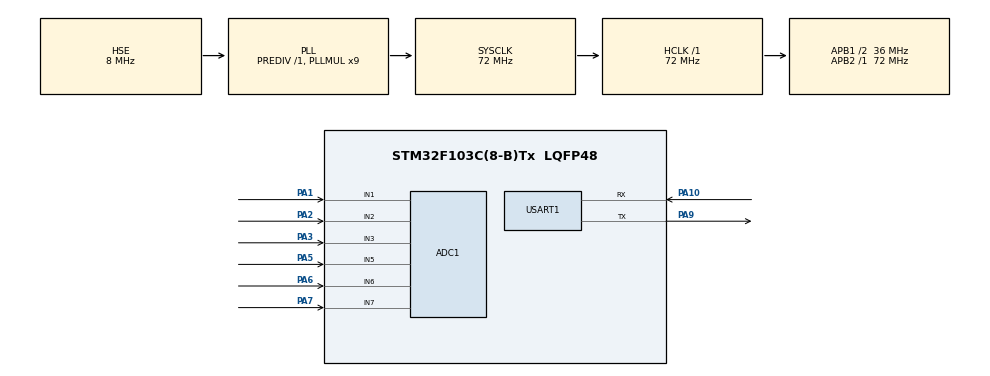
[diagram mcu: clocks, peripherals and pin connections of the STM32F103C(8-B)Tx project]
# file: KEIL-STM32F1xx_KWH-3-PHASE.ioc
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ADC1.AutoInjectedConv=DISABLE
ADC1.Channel-0\#ChannelRegularConversion=ADC_CHANNEL_1
ADC1.Channel-1\#ChannelRegularConversion=ADC_CHANNEL_2
ADC1.Channel-2\#ChannelRegularConversion=ADC_CHANNEL_3
ADC1.Channel-3\#ChannelRegularConversion=ADC_CHANNEL_5
ADC1.Channel-4\#ChannelRegularConversion=ADC_CHANNEL_6
ADC1.Channel-5\#ChannelRegularConversion=ADC_CHANNEL_7
ADC1.ContinuousConvMode=ENABLE
ADC1.InjectedDiscontinuousConvMode=DISABLE
ADC1.NbrOfConversion=6
ADC1.NbrOfConversionFlag=1
ADC1.Rank-0\#ChannelRegularConversion=1
ADC1.Rank-1\#ChannelRegularConversion=2
ADC1.Rank-2\#ChannelRegularConversion=3
ADC1.Rank-3\#ChannelRegularConversion=4
ADC1.Rank-4\#ChannelRegularConversion=5
ADC1.Rank-5\#ChannelRegularConversion=6
ADC1.SamplingTime-0\#ChannelRegularConversion=ADC_SAMPLETIME_55CYCLES_5
ADC1.SamplingTime-1\#ChannelRegularConversion=ADC_SAMPLETIME_55CYCLES_5
ADC1.SamplingTime-2\#ChannelRegularConversion=ADC_SAMPLETIME_55CYCLES_5
ADC1.SamplingTime-3\#ChannelRegularConversion=ADC_SAMPLETIME_55CYCLES_5
ADC1.SamplingTime-4\#ChannelRegularConversion=ADC_SAMPLETIME_55CYCLES_5
ADC1.SamplingTime-5\#ChannelRegularConversion=ADC_SAMPLETIME_55CYCLES_5
ADC1.master=1
Dma.ADC1.0.Direction=DMA_PERIPH_TO_MEMORY
Dma.ADC1.0.Instance=DMA1_Channel1
Dma.ADC1.0.MemDataAlignment=DMA_MDATAALIGN_HALFWORD
Dma.ADC1.0.MemInc=DMA_MINC_ENABLE
Dma.ADC1.0.Mode=DMA_CIRCULAR
Dma.ADC1.0.PeriphDataAlignment=DMA_PDATAALIGN_HALFWORD
Dma.ADC1.0.PeriphInc=DMA_PINC_DISABLE
Dma.ADC1.0.Priority=DMA_PRIORITY_LOW
Dma.Request0=ADC1
Mcu.Family=STM32F1
Mcu.Name=STM32F103C(8-B)Tx
Mcu.Package=LQFP48
NVIC.DMA1_Channel1_IRQn=true\:0\:0\:false\:false\:true
NVIC.PriorityGroup=NVIC_PRIORITYGROUP_4
PA1.Signal=ADCx_IN1
PA10.Mode=Asynchronous
PA10.Signal=USART1_RX
PA13.Mode=Serial_Wire
PA13.Signal=SYS_JTMS-SWDIO
PA14.Mode=Serial_Wire
PA14.Signal=SYS_JTCK-SWCLK
PA2.Signal=ADCx_IN2
PA3.Signal=ADCx_IN3
PA5.Signal=ADCx_IN5
PA6.Signal=ADCx_IN6
PA7.Signal=ADCx_IN7
PA9.Mode=Asynchronous
PA9.Signal=USART1_TX
PD0-OSC_IN.Mode=HSE-External-Oscillator
PD0-OSC_IN.Signal=RCC_OSC_IN
PD1-OSC_OUT.Mode=HSE-External-Oscillator
PD1-OSC_OUT.Signal=RCC_OSC_OUT
ProjectManager.HeapSize=0x200
ProjectManager.StackSize=0x400
ProjectManager.TargetToolchain=MDK-ARM V5
RCC.ADCPresc=RCC_ADCPCLK2_DIV6
RCC.AHBCLKDivider=RCC_SYSCLK_DIV1
RCC.AHBFreq_Value=72000000
RCC.APB1CLKDivider=RCC_HCLK_DIV2
RCC.APB1Freq_Value=36000000
RCC.APB1TimFreq_Value=72000000
RCC.APB2CLKDivider=RCC_HCLK_DIV1
RCC.APB2Freq_Value=72000000
RCC.APB2TimFreq_Value=72000000
RCC.ClockTypeHCLK=RCC_CLOCKTYPE_HCLK
RCC.ClockTypePCLK1=RCC_CLOCKTYPE_PCLK1
RCC.ClockTypePCLK2=RCC_CLOCKTYPE_PCLK2
RCC.EnableHSE=true
RCC.EnableHSERTCDevisor=false
RCC.EnableLSE=false
RCC.EnableLSERTC=false
RCC.EnableMCOMultDivisor=false
RCC.HCLKFreq_Value=72000000
RCC.HSEState=RCC_HSE_ON
RCC.HSIState=RCC_HSI_ON
RCC.IWDGEnable=false
RCC.LSIState=RCC_LSI_OFF
RCC.MCOEnable=false
RCC.OscillatorTypeHSE=RCC_OSCILLATORTYPE_HSE
RCC.OscillatorTypeHSI=RCC_OSCILLATORTYPE_HSI
RCC.PLLMUL=RCC_PLL_MUL9
RCC.PLLSource=RCC_PLLSOURCE_HSE
RCC.PLLSourceVirtual=RCC_PLLSOURCE_HSE
RCC.PLLState=RCC_PLL_ON
RCC.RTCEnable=false
RCC.SYSCLKFreq_VALUE=72000000
RCC.SYSCLKSource=RCC_SYSCLKSOURCE_PLLCLK
RCC.TimSys_Div=SYSTICK_CLKSOURCE_HCLK
RCC.USBFreq_Value=72000000
SH.ADCx_IN1.0=ADC1_IN1,IN1
SH.ADCx_IN2.0=ADC1_IN2,IN2
SH.ADCx_IN3.0=ADC1_IN3,IN3
SH.ADCx_IN5.0=ADC1_IN5,IN5
SH.ADCx_IN6.0=ADC1_IN6,IN6
SH.ADCx_IN7.0=ADC1_IN7,IN7
USART1.HwFlowCtl-Asynchronous=UART_HWCONTROL_NONE
USART1.VirtualMode=VM_ASYNC
board=KEIL-STM32F1xx_KWH-3-PHASE

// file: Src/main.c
/**
  ******************************************************************************
  * File Name          : main.c
  * Description        : Main program body
  ******************************************************************************
  *
  * COPYRIGHT(c) 2017 STMicroelectronics
  *
  * Redistribution and use in source and binary forms, with or without modification,
  * are permitted provided that the following conditions are met:
  *   1. Redistributions of source code must retain the above copyright notice,
  *      this list of conditions and the following disclaimer.
  *   2. Redistributions in binary form must reproduce the above copyright notice,
  *      this list of conditions and the following disclaimer in the documentation
  *      and/or other materials provided with the distribution.
  *   3. Neither the name of STMicroelectronics nor the names of its contributors
  *      may be used to endorse or promote products derived from this software
  *      without specific prior written permission.
  *
  * THIS SOFTWARE IS PROVIDED BY THE COPYRIGHT HOLDERS AND CONTRIBUTORS "AS IS"
  * AND ANY EXPRESS OR IMPLIED WARRANTIES, INCLUDING, BUT NOT LIMITED TO, THE
  * IMPLIED WARRANTIES OF MERCHANTABILITY AND FITNESS FOR A PARTICULAR PURPOSE ARE
  * DISCLAIMED. IN NO EVENT SHALL THE COPYRIGHT HOLDER OR CONTRIBUTORS BE LIABLE
  * FOR ANY DIRECT, INDIRECT, INCIDENTAL, SPECIAL, EXEMPLARY, OR CONSEQUENTIAL
  * DAMAGES (INCLUDING, BUT NOT LIMITED TO, PROCUREMENT OF SUBSTITUTE GOODS OR
  * SERVICES; LOSS OF USE, DATA, OR PROFITS; OR BUSINESS INTERRUPTION) HOWEVER
  * CAUSED AND ON ANY THEORY OF LIABILITY, WHETHER IN CONTRACT, STRICT LIABILITY,
  * OR TORT (INCLUDING NEGLIGENCE OR OTHERWISE) ARISING IN ANY WAY OUT OF THE USE
  * OF THIS SOFTWARE, EVEN IF ADVISED OF THE POSSIBILITY OF SUCH DAMAGE.
  *
  ******************************************************************************
  */
#include "main.h"
#include "stm32f1xx_hal.h"
#include <stdbool.h>
#include <math.h>
#include <string.h>

ADC_HandleTypeDef hadc1;
DMA_HandleTypeDef hdma_adc1;

UART_HandleTypeDef huart1;

/* USER CODE BEGIN PV */
/* Private variables ---------------------------------------------------------*/

volatile uint16_t ADC_Buff[6];
int len;
char buff_R[100];
char buff_S[100];
char buff_T[100];
#define vR_Pin 0
#define vS_Pin 1
#define vT_Pin 2
#define iR_Pin 3
#define iS_Pin 4
#define iT_Pin 5

/* USER CODE END PV */

void SystemClock_Config(void);
void Error_Handler(void);
static void MX_GPIO_Init(void);
static void MX_DMA_Init(void);
static void MX_ADC1_Init(void);
static void MX_USART1_UART_Init(void);

/* USER CODE BEGIN PFP */
/* Private function prototypes -----------------------------------------------*/
/*
void voltage(unsigned int _inPinV, double _VCAL, double _PHASECAL);
void current(unsigned int _inPinI, double _ICAL);
void calcVI(unsigned int crossings, unsigned int timeout);
double calcIrms(unsigned int NUMBER_OF_SAMPLES);
*/
/* USER CODE END PFP */

/* USER CODE BEGIN 0 */
#define ADC_BITS    12
#define ADC_COUNTS  (1<<ADC_BITS)

void voltage(unsigned int _inPinV, double _VCAL, double _PHASECAL);
void current(unsigned int _inPinI, double _ICAL);
void calcVI(unsigned int crossings, unsigned int timeout);
double calcIrms(unsigned int NUMBER_OF_SAMPLES);
double realPower,apparentPower,powerFactor,Vrms,Irms;

unsigned int inPinV;
unsigned int inPinI;
double VCAL;
double ICAL;
double PHASECAL;
int sampleV;
int sampleI;
double lastFilteredV,filteredV;
double filteredI;
double offsetV;
double offsetI;
double phaseShiftedV;
double sqV,sumV,sqI,sumI,instP,sumP;
int startV;
bool lastVCross, checkVCross;

/* USER CODE END 0 */

int main(void)
{

  /* MCU Configuration----------------------------------------------------------*/

  /* Reset of all peripherals, Initializes the Flash interface and the Systick. */
  HAL_Init();

  /* Configure the system clock */
  SystemClock_Config();

  /* Initialize all configured peripherals */
  MX_GPIO_Init();
  MX_DMA_Init();
  MX_ADC1_Init();
  MX_USART1_UART_Init();

  /* USER CODE BEGIN 2 */
	HAL_ADC_Start_DMA(&hadc1, (uint32_t *) ADC_Buff, 6);

	voltage(vR_Pin, 228.0, 1.7);
  current(iR_Pin, 23.9); //88.6

  /* USER CODE END 2 */

  /* Infinite loop */
  while (1)
  {

  /* USER CODE BEGIN 3 */
		//************************************** PHASE_R **************************************************
		//calcIrms(64000);
		//sprintf(buff_R, "Irms : %.3f\r\n", Irms);

		calcVI(20, 2000);
		sprintf(buff_R, "Vrms : %.3f \t Irms : %.3f \t RP : %.3f \t AP : %.3f \t CosQ : %.3f \r\n", Vrms, Irms, realPower, apparentPower, powerFactor);

		len=sizeof(buff_R);
		HAL_UART_Transmit(&huart1, (uint8_t *)buff_R, len, 1000);
		memset(&buff_R[0], 0, sizeof(buff_R));
		//HAL_Delay(500);

		/*
		************************************** PHASE_S **************************************************
		voltage(vS_Pin, 220, 1.7);
		current(iS_Pin, 111.1);
		calcVI(20, 32000);
		sprintf(buff_S, "Vrms = %.2f \t Irms = %.2f \t CosQ = %.2f\r\n", Vrms, Irms, powerFactor);
		len=sizeof(buff_S);
		HAL_UART_Transmit(&huart1, (uint8_t *)buff_S, len, 1000);
		memset(&buff_S[0], 0, sizeof(buff_S));
		HAL_Delay(500);

		************************************** PHASE_T **************************************************
		voltage(vT_Pin, 220, 1.7);
		current(iT_Pin, 111.1);
		calcVI(20, 32000);
		sprintf(buff_T, "Vrms = %.2f \t Irms = %.2f \t CosQ = %.2f\r\n\r\n", Vrms, Irms, powerFactor);
		len=sizeof(buff_T);
		HAL_UART_Transmit(&huart1, (uint8_t *)buff_T, len, 1000);
		memset(&buff_T[0], 0, sizeof(buff_T));
		*/
  }
  /* USER CODE END 3 */

}

void voltage(unsigned int _inPinV, double _VCAL, double _PHASECAL)
{
  inPinV = _inPinV;
  VCAL = _VCAL;
  PHASECAL = _PHASECAL;
  offsetV = ADC_COUNTS>>1;
}

void current(unsigned int _inPinI, double _ICAL)
{
  inPinI = _inPinI;
  ICAL = _ICAL;
  offsetI = ADC_COUNTS>>1;
}

void calcVI(unsigned int crossings, unsigned int timeout)
{
  int SupplyVoltage = 3300.0;
  unsigned int crossCount = 0;
  unsigned int numberOfSamples = 0;
  bool st = false;
	unsigned long start = HAL_GetTick();
  while(st == false)
  {
    startV = ADC_Buff[inPinV];
    if ((startV < (ADC_COUNTS*0.55)) && (startV > (ADC_COUNTS*0.45))) st = true;
    if ((HAL_GetTick() - start) > timeout) st = true;
  }
  start = HAL_GetTick();
	while (crossCount < crossings)
	{
		while ((HAL_GetTick() - start) < timeout)
		{
			numberOfSamples++;
			lastFilteredV = filteredV;
			sampleV 			= ADC_Buff[inPinV];
			sampleI 			= ADC_Buff[inPinI];
			offsetV 			= offsetV + ((sampleV-offsetV)/4096);
			filteredV 		= sampleV - offsetV;
			offsetI 			= offsetI + ((sampleI-offsetI)/4096);
			filteredI 		= sampleI - offsetI;
			sqV						= filteredV * filteredV;
			sumV 				 += sqV;
			sqI 					= filteredI * filteredI;
			sumI 				 += sqI;
			phaseShiftedV = lastFilteredV + PHASECAL * (filteredV - lastFilteredV);
			instP 				= phaseShiftedV * filteredI;
			sumP    		 += instP;
			lastVCross 		= checkVCross;

			lastVCross = checkVCross;
			if (sampleV > startV) checkVCross = true;
			else checkVCross = false;
			if (numberOfSamples == 1) lastVCross = checkVCross;
			if (lastVCross != checkVCross) crossCount++;
		}
	}

  double V_RATIO 	= VCAL *((SupplyVoltage/1000.0) / (ADC_COUNTS));
	Vrms 						= V_RATIO * sqrt(sumV / numberOfSamples);
	double I_RATIO 	= ICAL *((SupplyVoltage/1000.0) / (ADC_COUNTS));
  Irms 						= I_RATIO * sqrt(sumI / numberOfSamples);
  realPower 			= V_RATIO * I_RATIO * (sumP / numberOfSamples);
  apparentPower 	= Vrms * Irms;
  powerFactor			= realPower / apparentPower;

  sumV = 0;
  sumI = 0;
  sumP = 0;
}

double calcIrms(unsigned int Number_of_Samples)
{
  int SupplyVoltage=3300.0;
  for (unsigned int n = 0; n < Number_of_Samples; n++)
  {
    sampleI = ADC_Buff[inPinI];
    offsetI = (offsetI + (sampleI-offsetI)/4096);
    filteredI = sampleI - offsetI;
    sqI = filteredI * filteredI;
    sumI += sqI;
  }
  double I_RATIO = ICAL *((SupplyVoltage/1000.0) / (ADC_COUNTS));
  Irms = I_RATIO * sqrt(sumI / Number_of_Samples);
  sumI = 0;
  return Irms;
}

/** System Clock Configuration
*/
void SystemClock_Config(void)
{

  RCC_OscInitTypeDef RCC_OscInitStruct;
  RCC_ClkInitTypeDef RCC_ClkInitStruct;
  RCC_PeriphCLKInitTypeDef PeriphClkInit;

    /**Initializes the CPU, AHB and APB busses clocks
    */
  RCC_OscInitStruct.OscillatorType = RCC_OSCILLATORTYPE_HSE;
  RCC_OscInitStruct.HSEState = RCC_HSE_ON;
  RCC_OscInitStruct.HSEPredivValue = RCC_HSE_PREDIV_DIV1;
  RCC_OscInitStruct.PLL.PLLState = RCC_PLL_ON;
  RCC_OscInitStruct.PLL.PLLSource = RCC_PLLSOURCE_HSE;
  RCC_OscInitStruct.PLL.PLLMUL = RCC_PLL_MUL9;
  if (HAL_RCC_OscConfig(&RCC_OscInitStruct) != HAL_OK)
  {
    Error_Handler();
  }

    /**Initializes the CPU, AHB and APB busses clocks
    */
  RCC_ClkInitStruct.ClockType = RCC_CLOCKTYPE_HCLK|RCC_CLOCKTYPE_SYSCLK
                              |RCC_CLOCKTYPE_PCLK1|RCC_CLOCKTYPE_PCLK2;
  RCC_ClkInitStruct.SYSCLKSource = RCC_SYSCLKSOURCE_PLLCLK;
  RCC_ClkInitStruct.AHBCLKDivider = RCC_SYSCLK_DIV1;
  RCC_ClkInitStruct.APB1CLKDivider = RCC_HCLK_DIV2;
  RCC_ClkInitStruct.APB2CLKDivider = RCC_HCLK_DIV1;

  if (HAL_RCC_ClockConfig(&RCC_ClkInitStruct, FLASH_LATENCY_2) != HAL_OK)
  {
    Error_Handler();
  }

  PeriphClkInit.PeriphClockSelection = RCC_PERIPHCLK_ADC;
  PeriphClkInit.AdcClockSelection = RCC_ADCPCLK2_DIV6;
  if (HAL_RCCEx_PeriphCLKConfig(&PeriphClkInit) != HAL_OK)
  {
    Error_Handler();
  }

    /**Configure the Systick interrupt time
    */
  HAL_SYSTICK_Config(HAL_RCC_GetHCLKFreq()/1000);

    /**Configure the Systick
    */
  HAL_SYSTICK_CLKSourceConfig(SYSTICK_CLKSOURCE_HCLK);

  /* SysTick_IRQn interrupt configuration */
  HAL_NVIC_SetPriority(SysTick_IRQn, 0, 0);
}

/* ADC1 init function */
static void MX_ADC1_Init(void)
{

  ADC_ChannelConfTypeDef sConfig;

    /**Common config
    */
  hadc1.Instance = ADC1;
  hadc1.Init.ScanConvMode = ADC_SCAN_ENABLE;
  hadc1.Init.ContinuousConvMode = ENABLE;
  hadc1.Init.DiscontinuousConvMode = DISABLE;
  hadc1.Init.ExternalTrigConv = ADC_SOFTWARE_START;
  hadc1.Init.DataAlign = ADC_DATAALIGN_RIGHT;
  hadc1.Init.NbrOfConversion = 6;
  if (HAL_ADC_Init(&hadc1) != HAL_OK)
  {
    Error_Handler();
  }

    /**Configure Regular Channel
    */
  sConfig.Channel = ADC_CHANNEL_1;
  sConfig.Rank = 1;
  sConfig.SamplingTime = ADC_SAMPLETIME_55CYCLES_5;
  if (HAL_ADC_ConfigChannel(&hadc1, &sConfig) != HAL_OK)
  {
    Error_Handler();
  }

    /**Configure Regular Channel
    */
  sConfig.Channel = ADC_CHANNEL_2;
  sConfig.Rank = 2;
  if (HAL_ADC_ConfigChannel(&hadc1, &sConfig) != HAL_OK)
  {
    Error_Handler();
  }

    /**Configure Regular Channel
    */
  sConfig.Channel = ADC_CHANNEL_3;
  sConfig.Rank = 3;
  if (HAL_ADC_ConfigChannel(&hadc1, &sConfig) != HAL_OK)
  {
    Error_Handler();
  }

    /**Configure Regular Channel
    */
  sConfig.Channel = ADC_CHANNEL_5;
  sConfig.Rank = 4;
  if (HAL_ADC_ConfigChannel(&hadc1, &sConfig) != HAL_OK)
  {
    Error_Handler();
  }

    /**Configure Regular Channel
    */
  sConfig.Channel = ADC_CHANNEL_6;
  sConfig.Rank = 5;
  if (HAL_ADC_ConfigChannel(&hadc1, &sConfig) != HAL_OK)
  {
    Error_Handler();
  }

    /**Configure Regular Channel
    */
  sConfig.Channel = ADC_CHANNEL_7;
  sConfig.Rank = 6;
  if (HAL_ADC_ConfigChannel(&hadc1, &sConfig) != HAL_OK)
  {
    Error_Handler();
  }

}

/* USART1 init function */
static void MX_USART1_UART_Init(void)
{

  huart1.Instance = USART1;
  huart1.Init.BaudRate = 115200;
  huart1.Init.WordLength = UART_WORDLENGTH_8B;
  huart1.Init.StopBits = UART_STOPBITS_1;
  huart1.Init.Parity = UART_PARITY_NONE;
  huart1.Init.Mode = UART_MODE_TX_RX;
  huart1.Init.HwFlowCtl = UART_HWCONTROL_NONE;
  huart1.Init.OverSampling = UART_OVERSAMPLING_16;
  if (HAL_UART_Init(&huart1) != HAL_OK)
  {
    Error_Handler();
  }

}

static void MX_DMA_Init(void)
{
  /* DMA controller clock enable */
  __HAL_RCC_DMA1_CLK_ENABLE();

  /* DMA interrupt init */
  /* DMA1_Channel1_IRQn interrupt configuration */
  HAL_NVIC_SetPriority(DMA1_Channel1_IRQn, 0, 0);
  HAL_NVIC_EnableIRQ(DMA1_Channel1_IRQn);

}

/** Configure pins as
        * Analog
        * Input
        * Output
        * EVENT_OUT
        * EXTI
*/
static void MX_GPIO_Init(void)
{

  /* GPIO Ports Clock Enable */
  __HAL_RCC_GPIOD_CLK_ENABLE();
  __HAL_RCC_GPIOA_CLK_ENABLE();

}

void Error_Handler(void)
{
  while(1)
  {
  }
}

/************************ (C) COPYRIGHT STMicroelectronics *****END OF FILE****/
